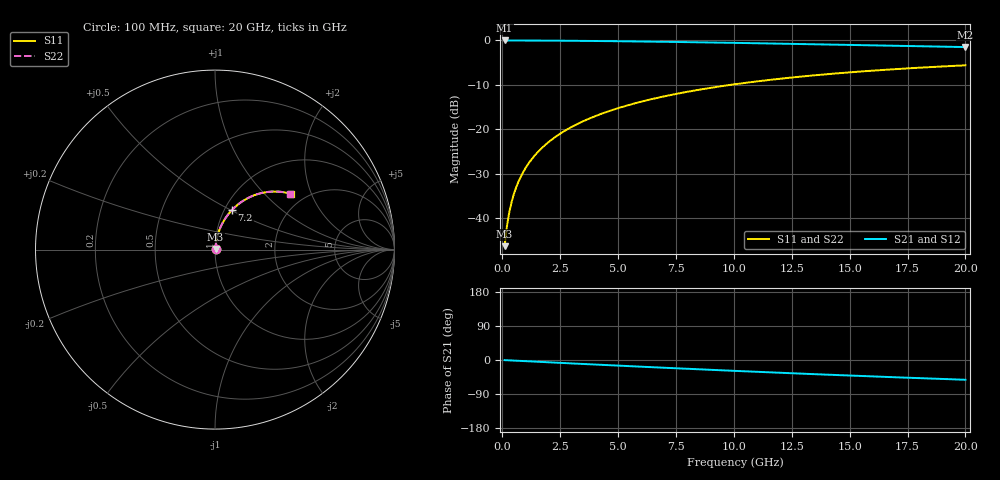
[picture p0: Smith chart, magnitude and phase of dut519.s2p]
! Touchstone file exported from HFSS 2026.1.0
!  File:  C:/ffzhzh/LocalFiles/Ansys_Project_Files/temp_train_BSMRDL_519_1783014530_55676.aedt
!  Generated:  01:50:24 AM Jul  3, 2026
!  Design:  BSMRDL
!  Project:  temp_train_BSMRDL_519_1783014530_55676
! Variables:
!  h_bsmrdl = 5.94um
!  h_ox = 20um
!  h_rdl = 5um
!  h_sub = 80um
!  h_tmrdl = 5um
!  h_tsv = 80um
!  h_via = 3um
!  l_bsmrdl = 758.03um
!  l_sub = 1158.03um
!  l_tmrdl = 200um
!  m_sub = 200um
!  pitch = 53.45um
!  r_tsv = 6um
!  s_tmrdl = 10um
!  w_bsmrdl = 15.26um
!  w_sub = 500um
!  w_tmrdl = 12um
!  x_tsv_center1 = 206um
!  x_tsv_center2 = 979.29um
!  x_tsv_center3 = 1191.29um
!  x_tsv_center4 = 1964.58um
!  x_tsv_center5 = 2176.58um
!  x_tsv_center6 = 2949.87um
# GHz S MA R 50.000000
! Terminal data exported
! Port[1] = BSM_RDL1_1_T1
! Port[2] = BSM_RDL1_1_T2
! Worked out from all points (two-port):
!   200 points, 100 MHz to 20 GHz, reference 50 ohm
!   highest |S21| = -0.03 dB at 100 MHz (marker M1); lowest = -1.5 dB at 20 GHz (marker M2)
!   |S21| within 3 dB of the highest: start of sweep to end of sweep
!   lowest |S11| = -46.3 dB at 100 MHz (marker M3), VSWR 1.01, Z = 50.3 + j0.376 ohm
!   |S11| at or under -10 dB: start of sweep to 9.883 GHz
!   |S22| runs from -46.3 to -5.6 dB; largest |S21 - S12| = 7.4e-15
!   S11 on the Smith chart (normalised r, x): 100 MHz: 1.01, +0.01; 7.2 GHz: 1.09, +0.51; 20 GHz: 1.68, +1.44
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0.1  0.00483 50.8  0.997 -0.3  0.997 -0.3  0.00483 50.8
! Gamma 0 0 0 0
! Port Impedance 50 0 50 0
0.2  0.008092 66.6  0.9968 -0.6  0.9968 -0.6  0.008092 66.6
0.3  0.01156 72.7  0.9967 -0.9  0.9967 -0.9  0.01156 72.7
0.4  0.01508 75.9  0.9965 -1.2  0.9965 -1.2  0.01508 75.9
0.5  0.01861 77.8  0.9964 -1.5  0.9964 -1.5  0.01861 77.8
0.7  0.0257 79.9  0.9961 -2.1  0.9961 -2.1  0.0257 79.9
0.8  0.02925 80.4  0.996 -2.5  0.996 -2.5  0.02925 80.4
1  0.03636 81.0  0.9956 -3.1  0.9956 -3.1  0.03636 81.0
1.4  0.05056 81.1  0.9947 -4.3  0.9947 -4.3  0.05056 81.1
1.7  0.06116 80.8  0.9938 -5.2  0.9938 -5.2  0.06116 80.8
2  0.0717 80.2  0.9929 -6.1  0.9929 -6.1  0.0717 80.2
2.7  0.09598 78.7  0.9901 -8.2  0.9901 -8.2  0.09598 78.7
3.5  0.1232 76.6  0.9862 -10.5  0.9862 -10.5  0.1232 76.6
4.2  0.1464 74.7  0.9823 -12.6  0.9823 -12.6  0.1464 74.7
5  0.1724 72.6  0.9774 -14.9  0.9774 -14.9  0.1724 72.6
6.8  0.2285 67.8  0.9646 -19.9  0.9646 -19.9  0.2285 67.8
7.2  0.2405 66.7  0.9614 -21.0  0.9614 -21.0  0.2405 66.8
8.6  0.281 63.1  0.9497 -24.9  0.9497 -24.9  0.281 63.1
10.1  0.322 59.2  0.9361 -28.8  0.9361 -28.8  0.322 59.3
13.4  0.4023 51.2  0.904 -37.2  0.904 -37.2  0.4023 51.2
16.7  0.4692 43.6  0.8711 -45.0  0.8711 -45.0  0.4692 43.6
20  0.5235 36.5  0.8399 -52.2  0.8399 -52.2  0.5235 36.6
